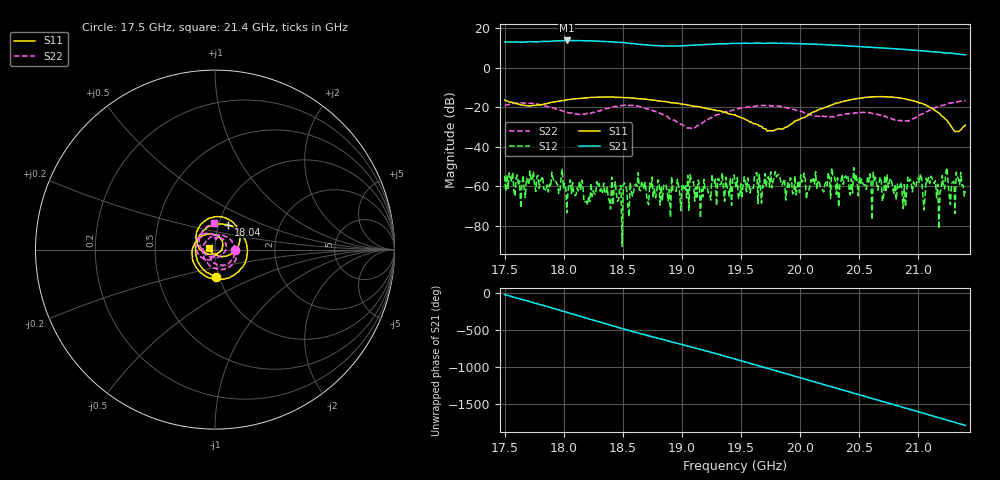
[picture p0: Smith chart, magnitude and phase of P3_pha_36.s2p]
!Created with skrf (http://scikit-rf.org).
# GHz S RI R 50.0
!freq ReS11 ImS11 ReS21 ImS21 ReS12 ImS12 ReS22 ImS22
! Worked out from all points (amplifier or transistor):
!   401 points, 17.5 GHz to 21.4 GHz, reference 50 ohm
!   highest |S21| = 13.9 dB at 18.03 GHz (marker M1)
!   |S21| within 3 dB of that: start of sweep to 20.49 GHz
!   unconditionally stable (mu >= 1): start of sweep to end of sweep
!   at 18.14 GHz: K = 122.96, MAG = 14.0 dB, |S12| = -61.9 dB
!   at 19.45 GHz: K = 86.65, MAG = 12.5 dB, |S12| = -57.3 dB
!   at 21.4 GHz: K = 304.94, MAG = 6.7 dB, |S12| = -62.5 dB
!   S11 on the Smith chart (normalised r, x): 17.5 GHz: 0.96, -0.30; 18.04 GHz: 1.11, +0.32; 21.4 GHz: 0.93, +0.01
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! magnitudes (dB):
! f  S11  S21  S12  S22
! 17.5 GHz  -16.4  13.1  -54.7  -19.1
! 18.03 GHz  -16.2  13.9  -73.6  -22.3
! 18.04 GHz  -16.1  13.9  -62.5  -22.7
! 18.15 GHz  -15.4  13.8  -57.0  -23.3
! 18.19 GHz  -15.3  13.7  -67.7  -23.3
! 18.3 GHz  -14.8  13.5  -58.7  -22.1
! 18.48 GHz  -15.0  12.9  -59.9  -19.3
! 18.81 GHz  -16.7  11.3  -57.6  -22.8
! 19.09 GHz  -19.4  11.4  -57.8  -30.6
! 19.18 GHz  -20.2  11.8  -65.5  -27.6
! 19.45 GHz  -23.9  12.4  -57.3  -21.1
! 19.5 GHz  -25.2  12.4  -58.8  -20.4
! 19.74 GHz  -31.7  12.6  -60.5  -19.1
! 20.1 GHz  -22.7  12.0  -58.3  -24.2
! 20.76 GHz  -14.7  9.9  -57.7  -25.4
! 20.88 GHz  -15.6  9.3  -59.1  -27.2
! 21.01 GHz  -17.7  8.7  -58.1  -24.1
! 21.06 GHz  -18.7  8.6  -65.4  -22.3
! 21.13 GHz  -21.0  8.1  -58.0  -20.7
! 21.18 GHz  -23.0  8.0  -81.6  -19.6
! 21.22 GHz  -25.6  7.6  -61.4  -18.8
! 21.4 GHz  -29.1  6.6  -62.5  -16.5
